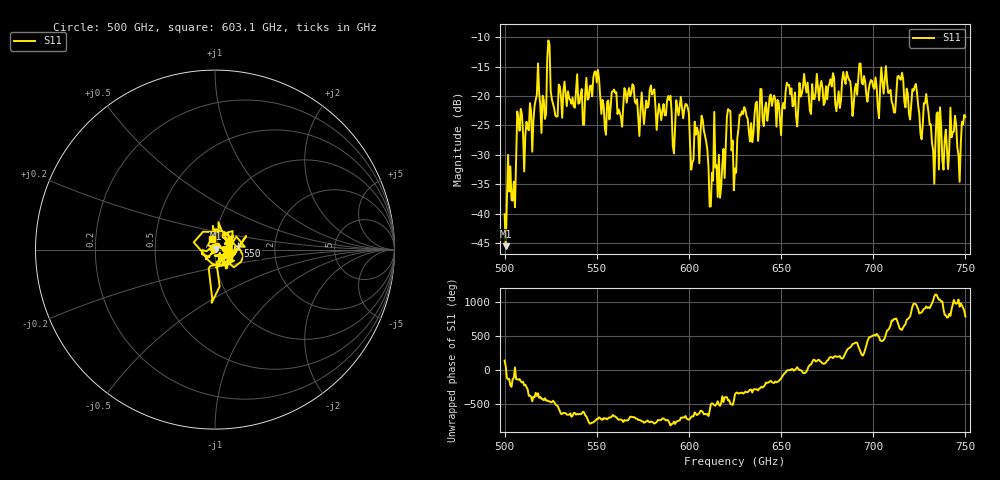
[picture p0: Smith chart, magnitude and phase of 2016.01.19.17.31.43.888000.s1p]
!Created with skrf (http://scikit-rf.org).
# GHz S RI R 50.0
!freq ReS11 ImS11
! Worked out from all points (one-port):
!   401 points, 500 GHz to 750 GHz, reference 50 ohm
!   lowest |S11| = -45.5 dB at 500.6 GHz (marker M1), VSWR 1.01, Z = 50.3 + j0.445 ohm
!   |S11| at or under -10 dB: start of sweep to end of sweep
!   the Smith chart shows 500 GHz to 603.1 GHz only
!   S11 on the Smith chart (normalised r, x): 500 GHz: 0.98, +0.01; 550 GHz: 1.30, +0.05; 603.1 GHz: 0.96, +0.11
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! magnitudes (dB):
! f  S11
! 500 GHz  -40.1
! 500.6 GHz  -45.5
! 505 GHz  -34.6
! 508.1 GHz  -25.9
! 521.2 GHz  -20.7
! 524.4 GHz  -11.3
! 527.5 GHz  -23.3
! 531.2 GHz  -23.7
! 550 GHz  -17.7
! 553.8 GHz  -21.6
! 562.5 GHz  -22.8
! 593.8 GHz  -22.1
! 603.1 GHz  -24.4
! 608.1 GHz  -25.9
! 611.9 GHz  -38.8
! 618.1 GHz  -31.7
! 621.2 GHz  -22.2
! 625 GHz  -32.3
! 628.8 GHz  -22.6
! 656.2 GHz  -21.8
! 687.5 GHz  -17.5
! 711.2 GHz  -22.8
! 714.4 GHz  -17.0
! 718.8 GHz  -19.6
! 728.8 GHz  -19.7
! 732.5 GHz  -29.2
! 746.9 GHz  -34.6
! 750 GHz  -23.6
